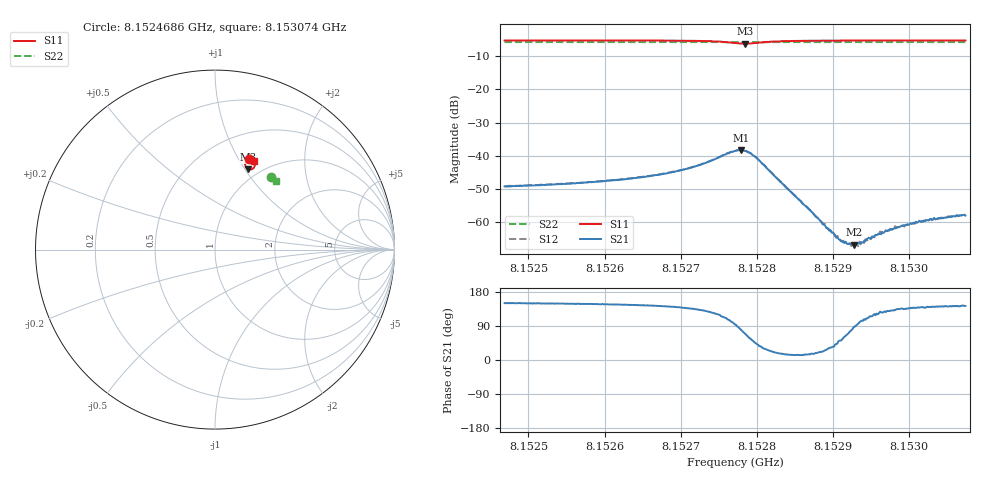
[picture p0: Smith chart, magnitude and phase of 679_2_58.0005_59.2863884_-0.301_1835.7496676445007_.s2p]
#  HZ  S  RI  R  50.00
! Rohde & Schwarz Vector Network Analyzer
! Rohde-Schwarz,ZNB20-2Port,1311601062101988,3.16
! Created: UTC 3/21/2024, 1:20:47 AM
! freq[Hz]  re:S11  im:S11  re:S21  im:S21  re:S12  im:S12  re:S22  im:S22
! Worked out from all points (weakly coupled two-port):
!   401 points, 8.1524686 GHz to 8.153074 GHz, reference 50 ohm
!   highest |S21| = -38.28 dB at 8.1527789 GHz (marker M1); lowest = -66.7 dB at 8.1529272 GHz (marker M2)
!   lowest |S11| = -6.3 dB at 8.1527849 GHz (marker M3), VSWR 2.88, Z = 44.2 + j51.7 ohm
!   |S11| at or under -10 dB: nowhere
!   |S22| runs from -5.9 to -5.8 dB; largest |S21 - S12| = 0.00039
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8.15246863e9  0.1891 0.5065  -0.00301 0.00172  -0.00299 0.00177  0.3098 0.4065
8.15257002e9  0.198 0.5029  -0.00333 0.00207  -0.00332 0.00212  0.3151 0.4024
8.15261996e9  0.203 0.5005  -0.00364 0.00243  -0.00361 0.00248  0.3174 0.4003
8.15267142e9  0.2094 0.4963  -0.00414 0.00318  -0.00412 0.00324  0.3201 0.3981
8.15272136e9  0.218 0.4866  -0.00486 0.00512  -0.0048 0.0052  0.3226 0.3957
8.1527713e9  0.2085 0.4495  -0.00079 0.0117  -0.000631 0.0119  0.3239 0.3925
8.15277886e9  0.1957 0.4457  0.00202 0.012  0.00214 0.0121  0.3237 0.3921
8.15278492e9  0.1842 0.4482  0.00427 0.011  0.0045 0.0111  0.3236 0.3923
8.15279248e9  0.1732 0.4572  0.00626 0.00878  0.00641 0.00865  0.3238 0.3925
8.15280005e9  0.1687 0.4687  0.00692 0.00616  0.0069 0.00607  0.3242 0.3927
8.15282578e9  0.1772 0.4923  0.00439 0.00151  0.00448 0.00146  0.326 0.3926
8.15287269e9  0.1938 0.4995  0.00135 0.000402  0.00135 0.000376  0.329 0.3905
8.1529075e9  0.2005 0.4995  0.000358 0.000427  0.000394 0.0004  0.3308 0.3889
8.15291809e9  0.2023 0.4992  0.00019 0.000439  0.000207 0.000428  0.3312 0.3886
8.15292717e9  0.2035 0.4991  2.79e-05 0.000462  5.17e-05 0.000459  0.3318 0.3883
8.15293323e9  0.2043 0.4989  -4.9e-05 0.000484  -3.56e-05 0.000436  0.3319 0.3879
8.15295593e9  0.2072 0.4984  -0.000305 0.000575  -0.000326 0.000526  0.3332 0.3868
8.15296198e9  0.2078 0.4982  -0.000404 0.000527  -0.000416 0.000596  0.3336 0.3868
8.15297409e9  0.2092 0.498  -0.000491 0.000605  -0.000491 0.000568  0.334 0.3861
8.15298468e9  0.2103 0.4975  -0.000588 0.000598  -0.000582 0.000621  0.3346 0.3856
8.15303008e9  0.2145 0.4963  -0.00083 0.000681  -0.000837 0.000719  0.3367 0.3837
8.15307397e9  0.2184 0.495  -0.001 0.000765  -0.00103 0.000813  0.3389 0.3818
